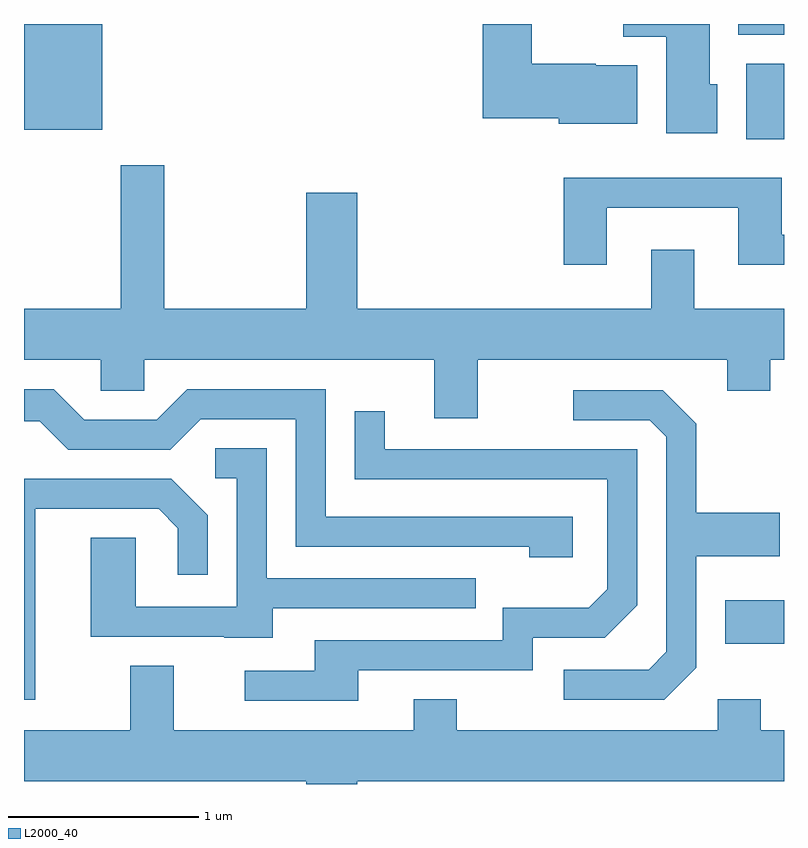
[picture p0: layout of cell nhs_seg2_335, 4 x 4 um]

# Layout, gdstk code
import gdstk
lib = gdstk.Library(unit=1e-6, precision=1e-09)
def R(c, l, rs):  # rectangles x0, y0, x1, y1
    for r in rs: c.add(gdstk.rectangle(r[:2], r[2:], *l))
def P(c, l, *ps):  # polygons
    for p in ps: c.add(gdstk.Polygon(p, *l))
L2000_40 = (2000, 40)

nhs_seg2_335 = lib.new_cell('nhs_seg2_335')
R(nhs_seg2_335, L2000_40, [(197.301,1104.541,197.611,1104.769), (197.411,1107.196,197.611,1107.594), (193.611,1107.246,194.024,1107.802), (197.371,1107.746,197.611,1107.802)])
P(nhs_seg2_335, L2000_40, [(196.839,1107.584),(196.62,1107.584),(196.62,1107.594),(196.284,1107.594),(196.284,1107.802),(196.026,1107.802),(196.026,1107.306),(196.426,1107.306),(196.426,1107.276),(196.839,1107.276)],
  [(197.259,1107.484),(197.219,1107.484),(197.219,1107.802),(196.766,1107.802),(196.766,1107.736),(196.991,1107.736),(196.991,1107.226),(197.259,1107.226)],
  [(195.999,1106.036),(197.311,1106.036),(197.311,1105.871),(197.539,1105.871),(197.539,1106.036),(197.611,1106.036),(197.611,1106.304),(197.139,1106.304),(197.139,1106.614),(196.911,1106.614),(196.911,1106.304),(195.364,1106.304),(195.364,1106.914),(195.096,1106.914),(195.096,1106.304),(194.349,1106.304),(194.349,1107.059),(194.121,1107.059),(194.121,1106.304),(193.611,1106.304),(193.611,1106.036),(194.016,1106.036),(194.016,1105.871),(194.244,1105.871),(194.244,1106.036),(195.771,1106.036),(195.771,1105.726),(195.999,1105.726)],
  [(196.679,1106.836),(197.371,1106.836),(197.371,1106.536),(197.611,1106.536),(197.611,1106.694),(197.599,1106.694),(197.599,1106.994),(196.451,1106.994),(196.451,1106.536),(196.679,1106.536)],
  [(196.499,1105.209),(195.199,1105.209),(195.199,1105.879),(194.469,1105.879),(194.309,1105.719),(193.927,1105.719),(193.767,1105.879),(193.611,1105.879),(193.611,1105.711),(193.694,1105.711),(193.844,1105.561),(194.382,1105.561),(194.542,1105.721),(195.041,1105.721),(195.041,1105.051),(196.271,1105.051),(196.271,1104.996),(196.499,1104.996)],
  [(197.149,1104.414),(197.149,1105.001),(197.589,1105.001),(197.589,1105.229),(197.149,1105.229),(197.149,1105.697),(196.972,1105.874),(196.503,1105.874),(196.503,1105.716),(196.904,1105.716),(196.991,1105.629),(196.991,1104.497),(196.899,1104.404),(196.453,1104.404),(196.453,1104.246),(196.982,1104.246)],
  [(195.369,1104.401),(196.289,1104.401),(196.289,1104.571),(196.667,1104.571),(196.839,1104.744),(196.839,1105.564),(195.509,1105.564),(195.509,1105.763),(195.351,1105.763),(195.351,1105.406),(196.681,1105.406),(196.681,1104.827),(196.584,1104.729),(196.131,1104.729),(196.131,1104.559),(195.141,1104.559),(195.141,1104.399),(194.773,1104.399),(194.773,1104.241),(195.369,1104.241)],
  [(194.919,1104.726),(195.988,1104.726),(195.988,1104.884),(194.889,1104.884),(194.889,1105.569),(194.618,1105.569),(194.618,1105.411),(194.731,1105.411),(194.731,1104.734),(194.199,1104.734),(194.199,1105.099),(193.961,1105.099),(193.961,1104.576),(194.665,1104.576),(194.665,1104.571),(194.919,1104.571)],
  [(193.669,1105.251),(194.319,1105.251),(194.421,1105.149),(194.421,1104.903),(194.579,1104.903),(194.579,1105.217),(194.387,1105.409),(193.611,1105.409),(193.611,1104.246),(193.669,1104.246)],
  [(195.364,1103.816),(197.611,1103.816),(197.611,1104.084),(197.489,1104.084),(197.489,1104.249),(197.261,1104.249),(197.261,1104.084),(195.889,1104.084),(195.889,1104.249),(195.661,1104.249),(195.661,1104.084),(194.399,1104.084),(194.399,1104.424),(194.171,1104.424),(194.171,1104.084),(193.611,1104.084),(193.611,1103.816),(195.096,1103.816),(195.096,1103.802),(195.364,1103.802)])

lib.write_gds('nhs_seg2_335.gds')
